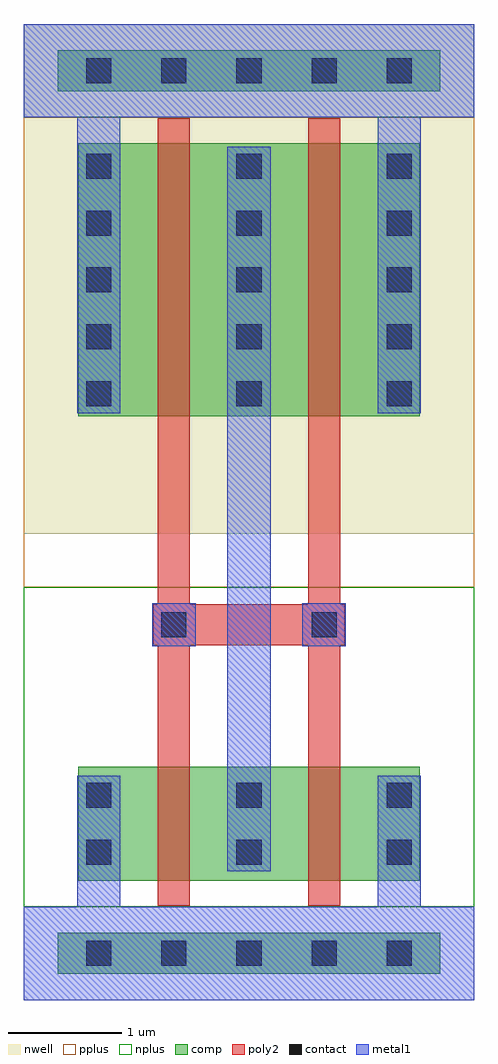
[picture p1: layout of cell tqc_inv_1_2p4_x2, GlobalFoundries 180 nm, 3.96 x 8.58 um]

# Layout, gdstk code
import gdstk
lib = gdstk.Library(unit=1e-6, precision=1e-09)
def R(c, l, rs):  # rectangles x0, y0, x1, y1
    for r in rs: c.add(gdstk.rectangle(r[:2], r[2:], *l))
def A(c, l, x, y, w, h, nx, ny, dx, dy):  # array of equal rectangles
    R(c, l, [(x+i*dx, y+j*dy, x+i*dx+w, y+j*dy+h) for i in range(nx) for j in range(ny)])
nwell = (21, 0)
comp = (22, 0)
poly2 = (30, 0)
pplus = (31, 0)
nplus = (32, 0)
contact = (33, 0)
metal1 = (34, 0)

tqc_inv_1_2p4_x2 = lib.new_cell('tqc_inv_1_2p4_x2')
R(tqc_inv_1_2p4_x2, nwell, [(0,4.1,3.96,8.58)])
R(tqc_inv_1_2p4_x2, comp, [(0.3,0.23,3.66,0.59), (0.48,1.05,3.48,2.05), (0.48,5.13,3.48,7.53), (0.3,7.99,3.66,8.35)])
R(tqc_inv_1_2p4_x2, poly2, [(1.18,0.83,1.46,7.75), (2.5,0.83,2.78,7.75), (1.14,3.12,1.5,3.48), (1.32,3.12,2.64,3.48), (2.46,3.12,2.82,3.48)])
R(tqc_inv_1_2p4_x2, pplus, [(0,0,3.96,0.82), (0,3.63,3.96,7.76)])
R(tqc_inv_1_2p4_x2, nplus, [(0,0.82,3.96,3.63), (0,7.76,3.96,8.58)])
A(tqc_inv_1_2p4_x2, contact, 0.55, 0.3, 0.22, 0.22, 5, 2, 0.66, 7.76)
A(tqc_inv_1_2p4_x2, contact, 0.55, 1.19, 0.22, 0.22, 3, 2, 1.32, 0.5)
A(tqc_inv_1_2p4_x2, contact, 0.55, 5.22, 0.22, 0.22, 3, 5, 1.32, 0.5)
R(tqc_inv_1_2p4_x2, contact, [(1.21,3.19,1.43,3.41), (2.53,3.19,2.75,3.41)])
R(tqc_inv_1_2p4_x2, metal1, [(0,0,3.96,0.82), (0.47,0,0.85,1.97), (3.11,0,3.49,1.97), (1.79,1.13,2.17,1.97), (1.79,1.87,2.17,4.15), (1.13,3.11,1.51,3.49), (2.45,3.11,2.83,3.49), (1.79,3.77,2.17,5.26), (0.47,5.16,0.85,8.58), (1.79,5.16,2.17,7.5), (3.11,5.16,3.49,8.58), (0,7.76,3.96,8.58)])

lib.write_gds('tqc_inv_1_2p4_x2.gds')
